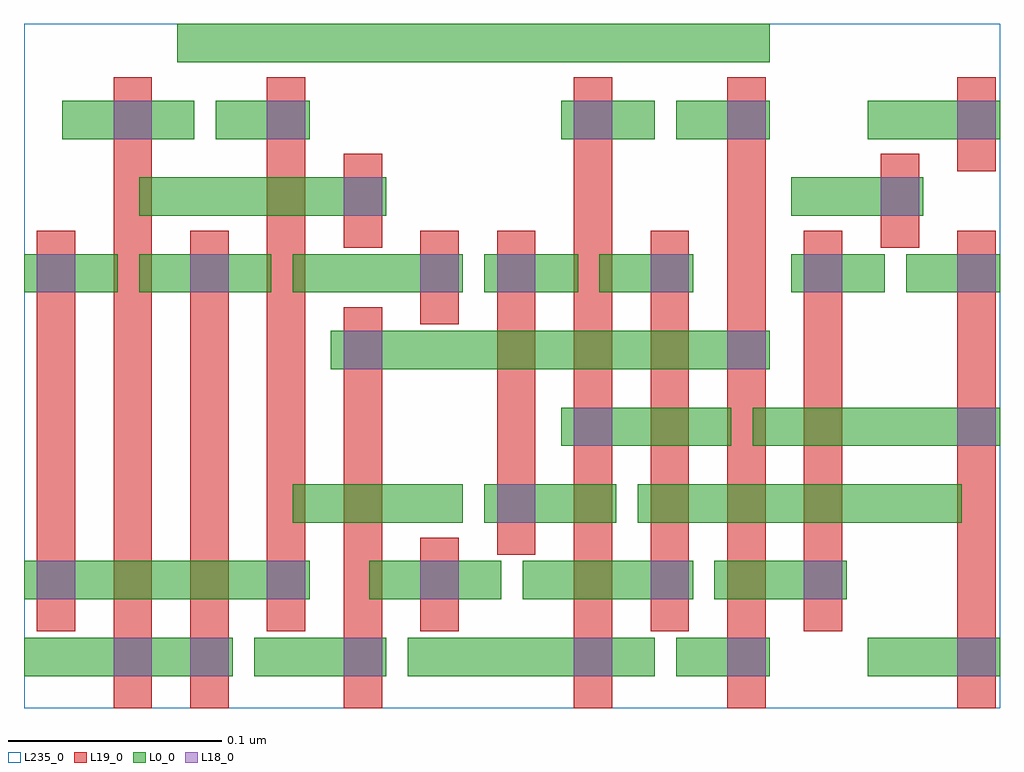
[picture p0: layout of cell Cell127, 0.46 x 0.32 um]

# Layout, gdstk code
import gdstk
lib = gdstk.Library(unit=1e-6, precision=2.5e-10)
def R(c, l, rs):  # rectangles x0, y0, x1, y1
    for r in rs: c.add(gdstk.rectangle(r[:2], r[2:], *l))
def A(c, l, x, y, w, h, nx, ny, dx, dy):  # array of equal rectangles
    R(c, l, [(x+i*dx, y+j*dy, x+i*dx+w, y+j*dy+h) for i in range(nx) for j in range(ny)])
L0_0 = (0, 0)
L18_0 = (18, 0)
L19_0 = (19, 0)
L235_0 = (235, 0)

cell127 = lib.new_cell('Cell127')
R(cell127, L0_0, [(0.004,-0.001,0.102,0.017), (0.112,-0.001,0.174,0.017), (0.184,-0.001,0.3,0.017), (0.31,-0.001,0.354,0.017), (0.4,-0.001,0.462,0.017), (0.004,0.035,0.138,0.053), (0.166,0.035,0.228,0.053), (0.238,0.035,0.318,0.053), (0.328,0.035,0.39,0.053), (0.13,0.071,0.21,0.089), (0.22,0.071,0.282,0.089), (0.292,0.071,0.444,0.089), (0.256,0.107,0.336,0.125), (0.346,0.107,0.462,0.125), (0.148,0.143,0.354,0.161), (0.004,0.179,0.048,0.197), (0.058,0.179,0.12,0.197), (0.13,0.179,0.21,0.197), (0.22,0.179,0.264,0.197), (0.274,0.179,0.318,0.197), (0.364,0.179,0.408,0.197), (0.418,0.179,0.462,0.197), (0.058,0.215,0.174,0.233), (0.364,0.215,0.426,0.233), (0.022,0.251,0.084,0.269), (0.094,0.251,0.138,0.269), (0.256,0.251,0.3,0.269), (0.31,0.251,0.354,0.269), (0.4,0.251,0.462,0.269), (0.076,0.287,0.354,0.305)])
A(cell127, L18_0, 0.226, 0.179, 0.018, 0.018, 4, 1, 0.072, 0)
R(cell127, L18_0, [(0.046,-0.001,0.064,0.017), (0.082,-0.001,0.1,0.017), (0.154,-0.001,0.172,0.017), (0.262,-0.001,0.28,0.017), (0.334,-0.001,0.352,0.017), (0.442,-0.001,0.46,0.017), (0.01,0.035,0.028,0.053), (0.118,0.035,0.136,0.053), (0.19,0.035,0.208,0.053), (0.298,0.035,0.316,0.053), (0.37,0.035,0.388,0.053), (0.226,0.071,0.244,0.089), (0.262,0.107,0.28,0.125), (0.442,0.107,0.46,0.125), (0.154,0.143,0.172,0.161), (0.334,0.143,0.352,0.161), (0.01,0.179,0.028,0.197), (0.082,0.179,0.1,0.197), (0.19,0.179,0.208,0.197), (0.154,0.215,0.172,0.233), (0.406,0.215,0.424,0.233), (0.046,0.251,0.064,0.269), (0.118,0.251,0.136,0.269), (0.262,0.251,0.28,0.269), (0.334,0.251,0.352,0.269), (0.442,0.251,0.46,0.269)])
R(cell127, L19_0, [(0.046,-0.016,0.064,0.28), (0.082,-0.016,0.1,0.208), (0.154,-0.016,0.172,0.172), (0.262,-0.016,0.28,0.28), (0.334,-0.016,0.352,0.28), (0.442,-0.016,0.46,0.208), (0.01,0.02,0.028,0.208), (0.118,0.02,0.136,0.28), (0.19,0.02,0.208,0.064), (0.298,0.02,0.316,0.208), (0.37,0.02,0.388,0.208), (0.226,0.056,0.244,0.208), (0.19,0.164,0.208,0.208), (0.154,0.2,0.172,0.244), (0.406,0.2,0.424,0.244), (0.442,0.236,0.46,0.28)])
R(cell127, L235_0, [(0.004,-0.016,0.462,0.305)])

lib.write_gds('Cell127.gds')
